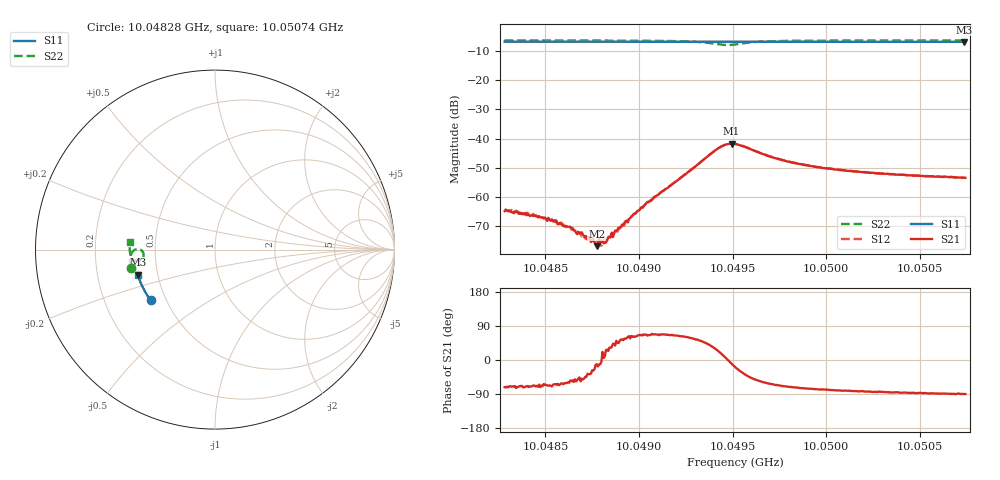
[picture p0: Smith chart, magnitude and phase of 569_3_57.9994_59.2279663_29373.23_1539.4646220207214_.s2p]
#  HZ  S  RI  R  50.00
! Rohde & Schwarz Vector Network Analyzer
! Rohde-Schwarz,ZNB20-2Port,1311601062101988,3.16
! Created: UTC 3/21/2024, 1:15:51 AM
! freq[Hz]  re:S11  im:S11  re:S21  im:S21  re:S12  im:S12  re:S22  im:S22
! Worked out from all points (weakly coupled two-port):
!   401 points, 10.04828 GHz to 10.05074 GHz, reference 50 ohm
!   highest |S21| = -41.73 dB at 10.04949 GHz (marker M1); lowest = -76.8 dB at 10.04877 GHz (marker M2)
!   lowest |S11| = -6.9 dB at 10.05074 GHz (marker M3), VSWR 2.65, Z = 19.3 - j6.79 ohm
!   |S11| at or under -10 dB: nowhere
!   |S22| runs from -8.0 to -6.4 dB; largest |S21 - S12| = 0.00059
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1.0048283e10  -0.358 -0.2831  0.000183 -0.000547  0.000243 -0.00057  -0.4667 -0.1002
1.0048479e10  -0.3655 -0.2726  0.000173 -0.000417  0.000186 -0.000406  -0.4689 -0.0863
1.0048541e10  -0.3681 -0.2692  0.00016 -0.000351  0.000182 -0.000344  -0.4697 -0.0817
1.0048633e10  -0.3715 -0.2641  0.000181 -0.00025  0.000197 -0.00024  -0.4703 -0.0747
1.0048664e10  -0.3726 -0.2626  0.000136 -0.000205  0.00016 -0.000205  -0.4705 -0.0722
1.0048695e10  -0.3738 -0.2608  0.000164 -0.00019  0.000148 -0.000154  -0.4708 -0.0698
1.0048775e10  -0.3765 -0.2564  0.000142 -2.79e-05  0.000169 -4.61e-05  -0.4711 -0.0635
1.0048793e10  -0.3772 -0.2554  0.00016 -3.17e-05  0.00015 1.72e-05  -0.4711 -0.0619
1.0048818e10  -0.378 -0.254  0.000164 2.83e-05  0.000161 4.71e-05  -0.4713 -0.0598
1.004891e10  -0.3813 -0.2489  0.000198 0.000277  0.000171 0.000276  -0.4712 -0.0517
1.0049002e10  -0.3844 -0.2436  0.000244 0.00054  0.000253 0.000556  -0.4706 -0.043
1.0049107e10  -0.3879 -0.2376  0.00047 0.00104  0.000364 0.00106  -0.469 -0.0318
1.0049291e10  -0.3937 -0.2268  0.00178 0.0026  0.0016 0.00276  -0.4546 -0.00628
1.0049414e10  -0.397 -0.2196  0.00582 0.00297  0.00561 0.00336  -0.4153 -0.00075
1.0049458e10  -0.3982 -0.2173  0.0077 0.00115  0.00764 0.00166  -0.3996 -0.0183
1.0049494e10  -0.3992 -0.2154  0.00808 -0.00138  0.0082 -0.000867  -0.3995 -0.0406
1.0049513e10  -0.3997 -0.2145  0.0077 -0.00254  0.00792 -0.00199  -0.4047 -0.0502
1.0049728e10  -0.4063 -0.2021  0.0019 -0.00422  0.00219 -0.00412  -0.4634 -0.0446
1.0049925e10  -0.4118 -0.19  0.000797 -0.00327  0.000985 -0.00324  -0.4726 -0.0209
1.0050337e10  -0.4217 -0.165  0.000227 -0.00244  0.000339 -0.00247  -0.4755 0.0147
1.0050737e10  -0.43 -0.1401  -2.61e-06 -0.00215  0.000137 -0.00215  -0.4739 0.0439
1.0050743e10  -0.4303 -0.1397  6.24e-06 -0.00214  0.000138 -0.00215  -0.474 0.0443
